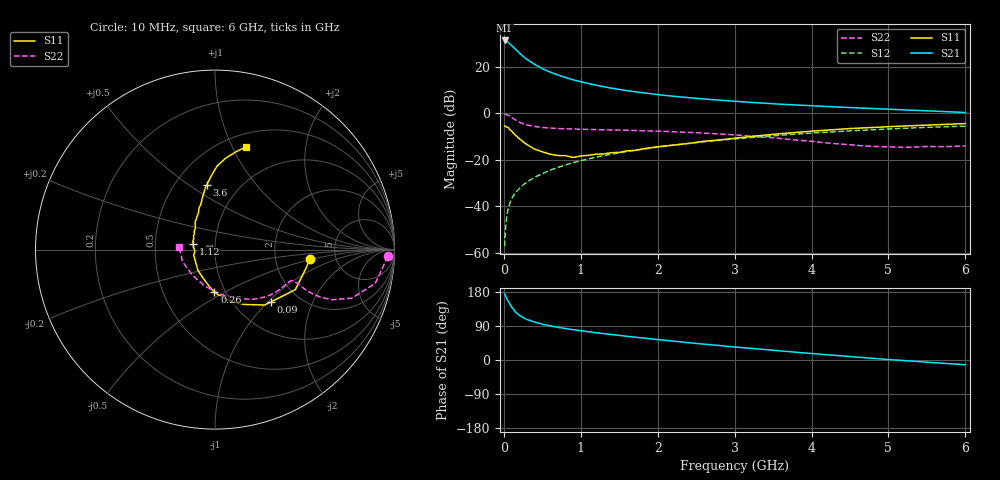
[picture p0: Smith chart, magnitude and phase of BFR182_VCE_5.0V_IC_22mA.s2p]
! Infineon Technologies  Discrete & RF Semiconductors
! BFR182
! VCE =  5.0 V,  IC =  22 mA
! Common Emitter S-Parameters:  Nov 2015
# GHz  S  MA  R  50
!  f  S11  S21  S12  S22
! GHz  MAG  ANG  MAG  ANG  MAG  ANG  MAG  ANG
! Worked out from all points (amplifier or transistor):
!   210 points, 10 MHz to 6 GHz, reference 50 ohm
!   highest |S21| = 31.2 dB at 10 MHz (marker M1)
!   |S21| within 3 dB of that: start of sweep to 127.1 MHz
!   unconditionally stable (mu >= 1): 574.4 MHz to 2.543 GHz
!   at 185 MHz: K = 0.72, MSG = 29.6 dB, |S12| = -32.9 dB
!   at 1.52 GHz: K = 1.04, MAG = 12.2 dB, |S12| = -16.9 dB
!   at 6 GHz: K = 0.89, MSG = 2.9 dB, |S12| = -5.6 dB
!   S11 on the Smith chart (normalised r, x): 10 MHz: 3.18, -0.45; 90 MHz: 1.46, -1.04; 260 MHz: 0.89, -0.45; 1.12 GHz: 0.78, +0.05; 3.6 GHz: 0.71, +0.59; 6 GHz: 0.63, +1.13
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0.01  0.53 -5.5  36.22 174.7  0.0014 91.0  0.9626 -2.2
0.02  0.5197 -10.7  35.72 170.1  0.003 83.6  0.9474 -4.9
0.05  0.5001 -26.5  33.87 157.3  0.0079 78.0  0.9125 -11.9
0.09  0.4265 -43.1  29.39 143.9  0.0133 73.9  0.8277 -17.9
0.1  0.4149 -48.1  28.57 139.9  0.0146 73.3  0.8081 -19.6
0.15  0.3368 -64.9  23.48 126.7  0.0196 70.7  0.7092 -23.2
0.2  0.2851 -76.6  19.54 118.2  0.024 71.1  0.6406 -24.3
0.26  0.2368 -90.7  16.01 110.8  0.0297 71.6  0.5854 -24.3
0.3  0.2117 -97.6  14.2 106.7  0.0332 72.5  0.5583 -24.0
0.4  0.1692 -114.4  11.09 100.0  0.0416 73.3  0.5171 -22.9
0.5  0.1491 -129.9  9.001 94.3  0.0505 73.9  0.4926 -22.2
0.7  0.1234 -155.7  6.596 86.2  0.0683 73.9  0.4673 -21.9
0.8  0.1228 -165.1  5.795 82.9  0.0774 73.5  0.461 -22.1
1.02  0.1212 172.1  4.624 76.6  0.0973 72.6  0.4497 -23.6
1.12  0.126 164.4  4.244 74.0  0.1064 72.2  0.4454 -24.4
1.6  0.1555 138.0  3.033 62.4  0.1502 68.5  0.4286 -29.9
2.02  0.1915 124.8  2.476 53.5  0.1886 64.7  0.4102 -36.0
3.1  0.3017 103.2  1.747 32.7  0.2893 53.8  0.3316 -56.3
3.6  0.363 97.3  1.554 23.8  0.3356 48.2  0.2844 -69.8
4.1  0.4213 92.0  1.412 15.3  0.3813 42.3  0.2386 -88.1
5.1  0.5209 82.2  1.199 -0.1  0.4656 30.0  0.187 -137.2
6  0.5973 73.3  1.033 -12.6  0.5257 17.8  0.1988 175.7
